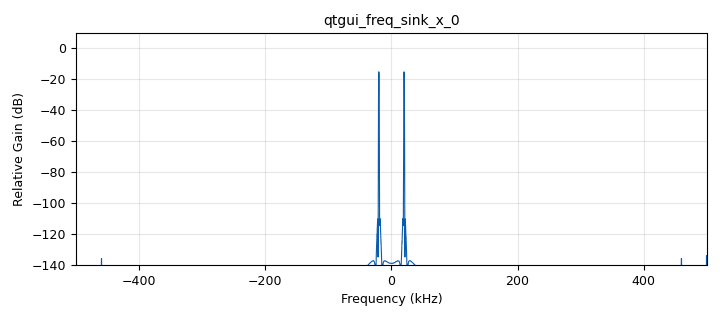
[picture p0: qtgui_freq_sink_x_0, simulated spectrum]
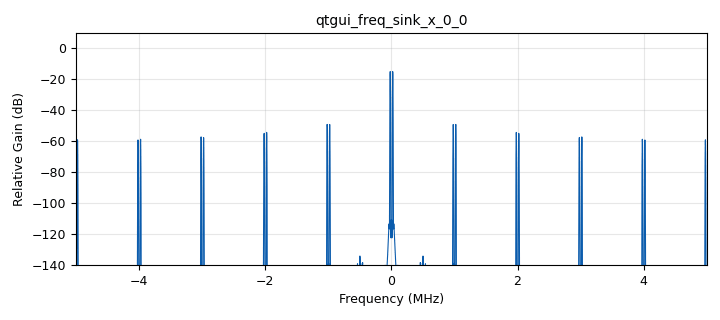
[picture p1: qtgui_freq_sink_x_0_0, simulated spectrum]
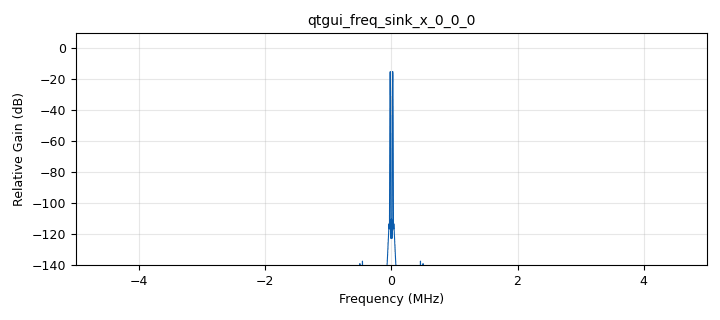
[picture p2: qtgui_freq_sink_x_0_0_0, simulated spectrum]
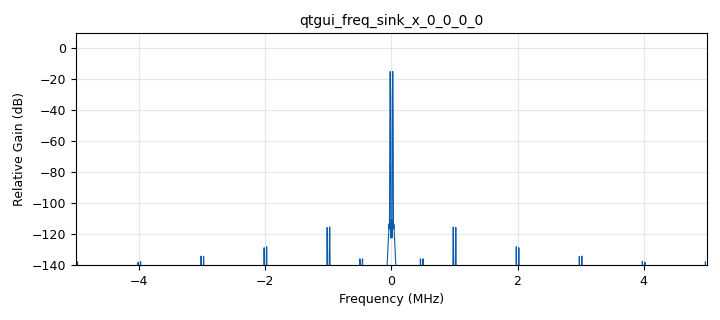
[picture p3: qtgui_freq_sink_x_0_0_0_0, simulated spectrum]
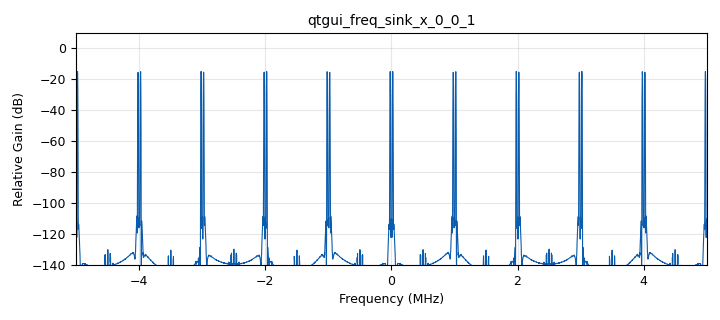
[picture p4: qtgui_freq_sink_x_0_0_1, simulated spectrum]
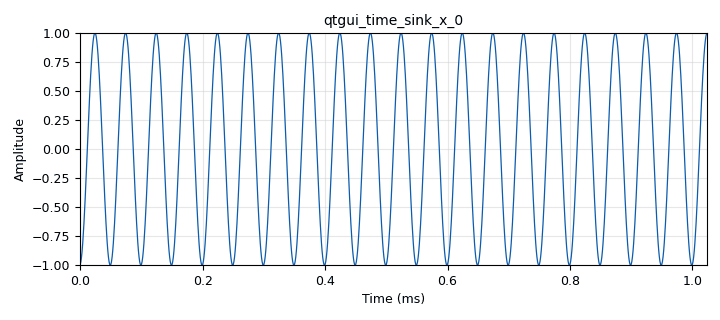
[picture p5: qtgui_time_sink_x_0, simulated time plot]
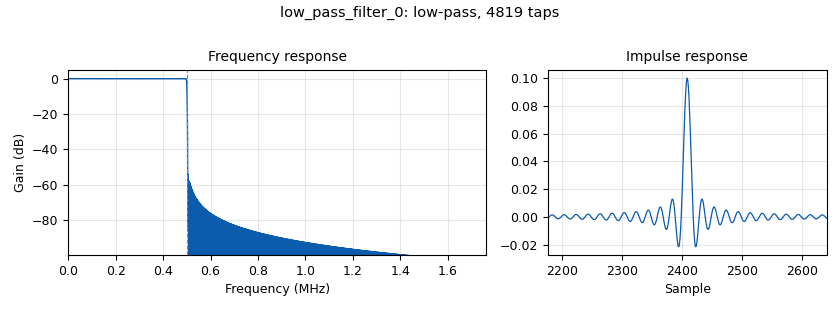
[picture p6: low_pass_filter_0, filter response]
options:
  parameters:
    generate_options: qt_gui
    id: sampling
    output_language: python
    title: sampling
  states: {}

blocks:
- name: freq
  id: variable_qtgui_range
  parameters:
    gui_hint: 0,0,1,2
    orient: Qt.Horizontal
    start: '0'
    step: '1'
    stop: 1.5e3
    value: '20'
  states: {}
- name: samp_rate
  id: variable
  parameters:
    value: 1e6
  states: {}
- name: analog_sig_source_x_0
  id: analog_sig_source_x
  parameters:
    amp: '1'
    freq: freq*1000
    offset: '0'
    phase: '0'
    samp_rate: samp_rate
    type: float
    waveform: analog.GR_COS_WAVE
  states: {}
- name: blocks_repeat_0
  id: blocks_repeat
  parameters:
    interp: '10'
    type: float
  states: {}
- name: blocks_throttle_0
  id: blocks_throttle
  parameters:
    samples_per_second: samp_rate
    type: float
  states: {}
- name: interp_fir_filter_xxx_0
  id: interp_fir_filter_xxx
  parameters:
    interp: '10'
    taps: '[10,0,0,0,0,0,0,0,0,0,0]'
    type: fff
  states: {}
- name: low_pass_filter_0
  id: low_pass_filter
  parameters:
    cutoff_freq: 500e3
    gain: '1'
    interp: '1'
    samp_rate: samp_rate*10
    type: interp_fir_filter_fff
    width: 5e3
    win: firdes.WIN_HAMMING
  states: {}
- name: low_pass_filter_0_0
  id: low_pass_filter
  parameters:
    cutoff_freq: 500e3
    gain: '1'
    interp: '1'
    samp_rate: samp_rate*10
    type: interp_fir_filter_fff
    width: 5e3
    win: firdes.WIN_HAMMING
  states: {}
- name: qtgui_freq_sink_x_0
  id: qtgui_freq_sink_x
  parameters:
    bw: samp_rate
    ctrlpanel: 'True'
    fc: '0'
    fftsize: '4086'
    gui_hint: 1,1,3,1
    type: float
    wintype: firdes.WIN_BLACKMAN_hARRIS
  states: {}
- name: qtgui_freq_sink_x_0_0
  id: qtgui_freq_sink_x
  parameters:
    bw: samp_rate*10
    ctrlpanel: 'True'
    fc: '0'
    fftsize: '4086'
    gui_hint: 4,1,3,1
    type: float
    wintype: firdes.WIN_BLACKMAN_hARRIS
  states: {}
- name: qtgui_freq_sink_x_0_0_0
  id: qtgui_freq_sink_x
  parameters:
    bw: samp_rate*10
    ctrlpanel: 'True'
    fc: '0'
    fftsize: '4086'
    gui_hint: 7,1,3,1
    type: float
    wintype: firdes.WIN_BLACKMAN_hARRIS
  states: {}
- name: qtgui_freq_sink_x_0_0_0_0
  id: qtgui_freq_sink_x
  parameters:
    bw: samp_rate*10
    ctrlpanel: 'True'
    fc: '0'
    fftsize: '4086'
    gui_hint: 13,1,3,1
    type: float
    wintype: firdes.WIN_BLACKMAN_hARRIS
  states: {}
- name: qtgui_freq_sink_x_0_0_1
  id: qtgui_freq_sink_x
  parameters:
    bw: samp_rate*10
    ctrlpanel: 'True'
    fc: '0'
    fftsize: '4086'
    gui_hint: 10,1,3,1
    type: float
    wintype: firdes.WIN_BLACKMAN_hARRIS
  states: {}
- name: qtgui_time_sink_x_0
  id: qtgui_time_sink_x
  parameters:
    entags: 'False'
    gui_hint: 1,0,3,1
    size: '1024'
    srate: samp_rate
    type: float
  states: {}
- name: qtgui_time_sink_x_0_0
  id: qtgui_time_sink_x
  parameters:
    entags: 'False'
    gui_hint: 4,0,3,1
    size: 1024*10
    srate: samp_rate/10
    type: float
  states: {}
- name: qtgui_time_sink_x_0_0_0
  id: qtgui_time_sink_x
  parameters:
    entags: 'False'
    gui_hint: 7,0,3,1
    size: 1024*10
    srate: samp_rate/10
    type: float
  states: {}
- name: qtgui_time_sink_x_0_0_0_0
  id: qtgui_time_sink_x
  parameters:
    entags: 'False'
    gui_hint: 13,0,3,1
    size: 1024*10
    srate: samp_rate/10
    type: float
  states: {}
- name: qtgui_time_sink_x_0_0_1
  id: qtgui_time_sink_x
  parameters:
    entags: 'False'
    gui_hint: 10,0,3,1
    size: 1024*10
    srate: samp_rate/10
    type: float
  states: {}

connections:
- [analog_sig_source_x_0, '0', blocks_throttle_0, '0']
- [blocks_repeat_0, '0', low_pass_filter_0, '0']
- [blocks_repeat_0, '0', qtgui_freq_sink_x_0_0, '0']
- [blocks_repeat_0, '0', qtgui_time_sink_x_0_0, '0']
- [blocks_throttle_0, '0', blocks_repeat_0, '0']
- [blocks_throttle_0, '0', interp_fir_filter_xxx_0, '0']
- [blocks_throttle_0, '0', qtgui_freq_sink_x_0, '0']
- [blocks_throttle_0, '0', qtgui_time_sink_x_0, '0']
- [interp_fir_filter_xxx_0, '0', low_pass_filter_0_0, '0']
- [interp_fir_filter_xxx_0, '0', qtgui_freq_sink_x_0_0_1, '0']
- [interp_fir_filter_xxx_0, '0', qtgui_time_sink_x_0_0_1, '0']
- [low_pass_filter_0, '0', qtgui_freq_sink_x_0_0_0, '0']
- [low_pass_filter_0, '0', qtgui_time_sink_x_0_0_0, '0']
- [low_pass_filter_0_0, '0', qtgui_freq_sink_x_0_0_0_0, '0']
- [low_pass_filter_0_0, '0', qtgui_time_sink_x_0_0_0_0, '0']

metadata:
  file_format: 1
